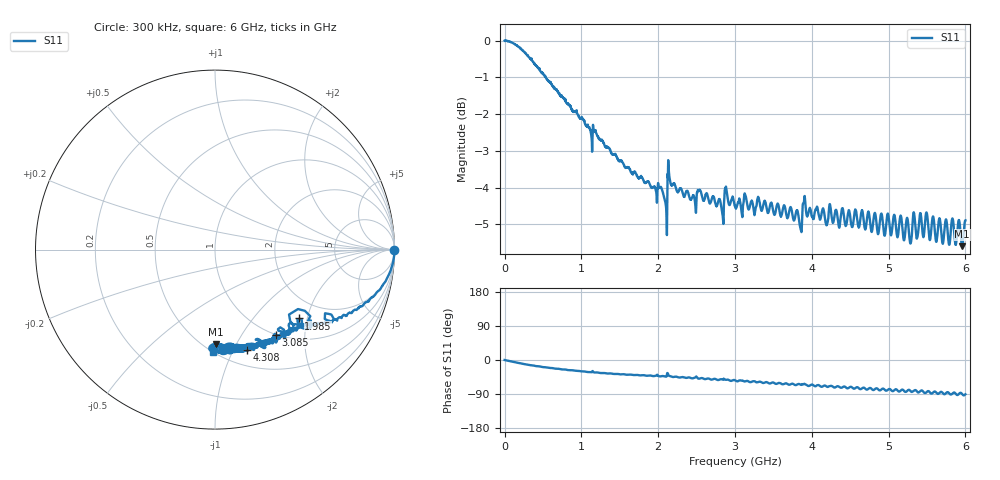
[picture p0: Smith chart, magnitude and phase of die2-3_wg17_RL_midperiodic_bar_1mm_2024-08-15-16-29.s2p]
!Keysight Technologies,P9374A,MY57304198,A.17.20.09
!Date: Thursday, August 15, 2024 16:29:48
!Correction: S11(C  1-Port  )
!S21(C  1-Port  )
!S12(Off)
!S22(Off)
!S2P File: Measurements: S11, S21, S12, S22:
# Hz S  dB  R 50
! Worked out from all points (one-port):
!   6000 points, 300 kHz to 6 GHz, reference 50 ohm
!   lowest |S11| = -5.6 dB at 5.957 GHz (marker M1), VSWR 3.21, Z = 28.5 - j41.4 ohm
!   |S11| at or under -10 dB: nowhere
!   S11 on the Smith chart (normalised r, x): 300 kHz: open; 1.985 GHz: 1.47, -1.78; 3.085 GHz: 0.99, -1.44; 4.308 GHz: 0.67, -1.14; 6 GHz: 0.51, -0.85
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300000  -0.00 -0.0  -200.00 45.0  -200.00 45.0  -200.00 45.0
1.823212e8  -0.17 -7.8  -200.00 45.0  -200.00 45.0  -200.00 45.0
4.163485e8  -0.69 -16.3  -200.00 45.0  -200.00 45.0  -200.00 45.0
6.663777e8  -1.32 -23.0  -200.00 45.0  -200.00 45.0  -200.00 45.0
1.000417e9  -2.11 -30.0  -200.00 45.0  -200.00 45.0  -200.00 45.0
1.500475e9  -3.28 -37.8  -200.00 45.0  -200.00 45.0  -200.00 45.0
1.984532e9  -4.38 -39.4  -200.00 45.0  -200.00 45.0  -200.00 45.0
2.000533e9  -3.90 -41.8  -200.00 45.0  -200.00 45.0  -200.00 45.0
2.085543e9  -4.34 -43.4  -200.00 45.0  -200.00 45.0  -200.00 45.0
2.14555e9  -3.70 -42.0  -200.00 45.0  -200.00 45.0  -200.00 45.0
2.266564e9  -4.10 -46.1  -200.00 45.0  -200.00 45.0  -200.00 45.0
2.83263e9  -4.67 -51.2  -200.00 45.0  -200.00 45.0  -200.00 45.0
2.882636e9  -3.97 -52.3  -200.00 45.0  -200.00 45.0  -200.00 45.0
3.00065e9  -4.51 -53.5  -200.00 45.0  -200.00 45.0  -200.00 45.0
3.08466e9  -4.64 -54.5  -200.00 45.0  -200.00 45.0  -200.00 45.0
4.000767e9  -4.78 -64.6  -200.00 45.0  -200.00 45.0  -200.00 45.0
4.307803e9  -4.63 -72.0  -200.00 45.0  -200.00 45.0  -200.00 45.0
5.000883e9  -4.80 -77.0  -200.00 45.0  -200.00 45.0  -200.00 45.0
5.281916e9  -5.51 -81.1  -200.00 45.0  -200.00 45.0  -200.00 45.0
5.491941e9  -4.67 -85.4  -200.00 45.0  -200.00 45.0  -200.00 45.0
5.956995e9  -5.59 -89.6  -200.00 45.0  -200.00 45.0  -200.00 45.0
6e9  -4.89 -90.5  -200.00 45.0  -200.00 45.0  -200.00 45.0
